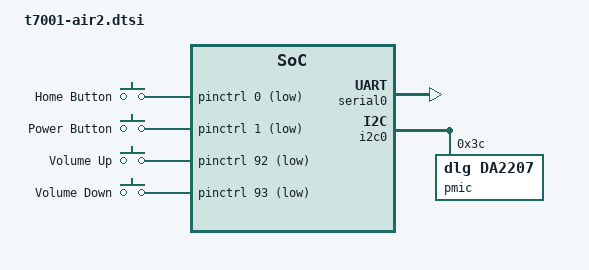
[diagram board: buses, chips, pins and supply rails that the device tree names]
// SPDX-License-Identifier: GPL-2.0+ OR MIT
/*
 * Apple iPad Air 2 common device tree
 * Copyright (c) 2022, Konrad Dybcio <konradybcio@kernel.org>
 */

#include "t7001.dtsi"
#include <dt-bindings/input/input.h>

/ {
	chassis-type = "tablet";

	chosen {
		#address-cells = <2>;
		#size-cells = <2>;
		ranges;

		stdout-path = "serial0";

		framebuffer0: framebuffer@0 {
			compatible = "apple,simple-framebuffer", "simple-framebuffer";
			reg = <0 0 0 0>; /* To be filled by loader */
			power-domains = <&ps_disp0 &ps_dp>;
			/* Format properties will be added by loader */
			status = "disabled";
		};
	};

	gpio-keys {
		compatible = "gpio-keys";

		button-home {
			label = "Home Button";
			gpios = <&pinctrl 0 GPIO_ACTIVE_LOW>;
			linux,code = <KEY_HOMEPAGE>;
			wakeup-source;
		};

		button-power {
			label = "Power Button";
			gpios = <&pinctrl 1 GPIO_ACTIVE_LOW>;
			linux,code = <KEY_POWER>;
			wakeup-source;
		};

		button-volup {
			label = "Volume Up";
			gpios = <&pinctrl 92 GPIO_ACTIVE_LOW>;
			linux,code = <KEY_VOLUMEUP>;
		};

		button-voldown {
			label = "Volume Down";
			gpios = <&pinctrl 93 GPIO_ACTIVE_LOW>;
			linux,code = <KEY_VOLUMEDOWN>;
		};
	};

	memory@800000000 {
		device_type = "memory";
		reg = <0x8 0 0 0>; /* To be filled by loader */
	};

	reserved-memory {
		#address-cells = <2>;
		#size-cells = <2>;
		ranges;

		/* To be filled by loader */
	};
};

&serial0 {
	status = "okay";
};

&i2c0 {
	status = "okay";

	pmic@3c {
		compatible = "dlg,da2207", "dlg,i2c-da2xxx";
		reg = <0x3c>;
		#address-cells = <1>;
		#size-cells = <1>;

		rtc@5c0 {
			compatible = "dlg,da2207-rtc", "dlg,da2045-rtc";
			reg = <0x5c0 0x10>;
			nvmem-cells = <&rtc_offset>;
			nvmem-cell-names = "rtc_offset";
		};

		backlight@600 {
			compatible = "dlg,da2207-bl", "dlg,da2089-bl";
			reg = <0x600 0x2>;
		};

		nvmem@4000 {
			compatible = "dlg,da2xxx-nvmem";
			reg = <0x4000 0x28>;

			nvmem-layout {
				compatible = "fixed-layout";
				#address-cells = <1>;
				#size-cells = <1>;

				rtc_offset: rtc-offset@4 {
					reg = <0x4 0x4>;
				};
			};
		};
	};
};
